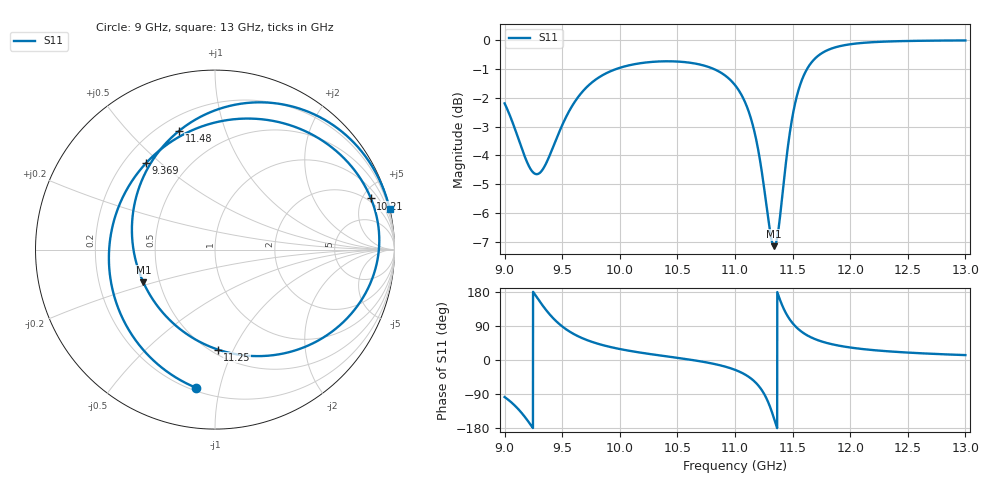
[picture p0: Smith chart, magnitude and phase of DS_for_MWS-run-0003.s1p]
! TOUCHSTONE file generated by CST DESIGN STUDIO
! Date and time: Tue Feb  4 17:48:11 2025
! Project name: C:\Work\MatlabApps\UnitCellOptimizationMatlab\CST\unitcell.cst
! Tree item: Tasks\Sweep1\SPara1\S-Parameters
! Header version: 2024
! Port assignment regex: !\s*Touchstone port\s*([0-9]+)\s*=\s*(CST MWS port|CST DES external port|CST DES block port)\s*(.+)\s* \(\"(.*)\"\)(\s*mode\s*([0-9]+))?.*
! Touchstone port assignment:
! Touchstone port 1 = CST DES external port 1 ("")
# GHz S MA R 50
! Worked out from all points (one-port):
!   4001 points, 9 GHz to 13 GHz, reference 50 ohm
!   lowest |S11| = -7.2 dB at 11.34 GHz (marker M1), VSWR 2.56, Z = 20.3 - j9.19 ohm
!   |S11| at or under -10 dB: nowhere
!   S11 on the Smith chart (normalised r, x): 9 GHz: 0.22, -0.85; 9.369 GHz: 0.29, +0.45; 10.21 GHz: 1.67, +5.78; 11.25 GHz: 0.54, -0.87; 11.48 GHz: 0.28, +0.70; 13 GHz: 0.02, +8.83
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9  0.7771 -97.7
9.101  0.6915 -124.0
9.209  0.6058 -163.7
9.285  0.5856 163.2
9.369  0.6165 128.5
9.432  0.661 107.0
9.5  0.7123 88.6
9.609  0.7819 67.1
9.721  0.8323 51.9
10  0.8959 28.9
10.207  0.9141 18.2
10.5  0.9186 5.7
10.803  0.8938 -9.3
11  0.8361 -25.9
11.136  0.7341 -48.1
11.201  0.6459 -66.7
11.251  0.557 -88.4
11.295  0.4782 -116.4
11.34  0.439 -155.4
11.401  0.515 150.6
11.476  0.6912 106.8
11.5  0.7393 97.2
11.577  0.8495 74.9
11.699  0.9315 54.6
11.827  0.9658 42.7
12  0.9843 33.0
12.5  0.9973 19.6
13  0.9994 12.9
